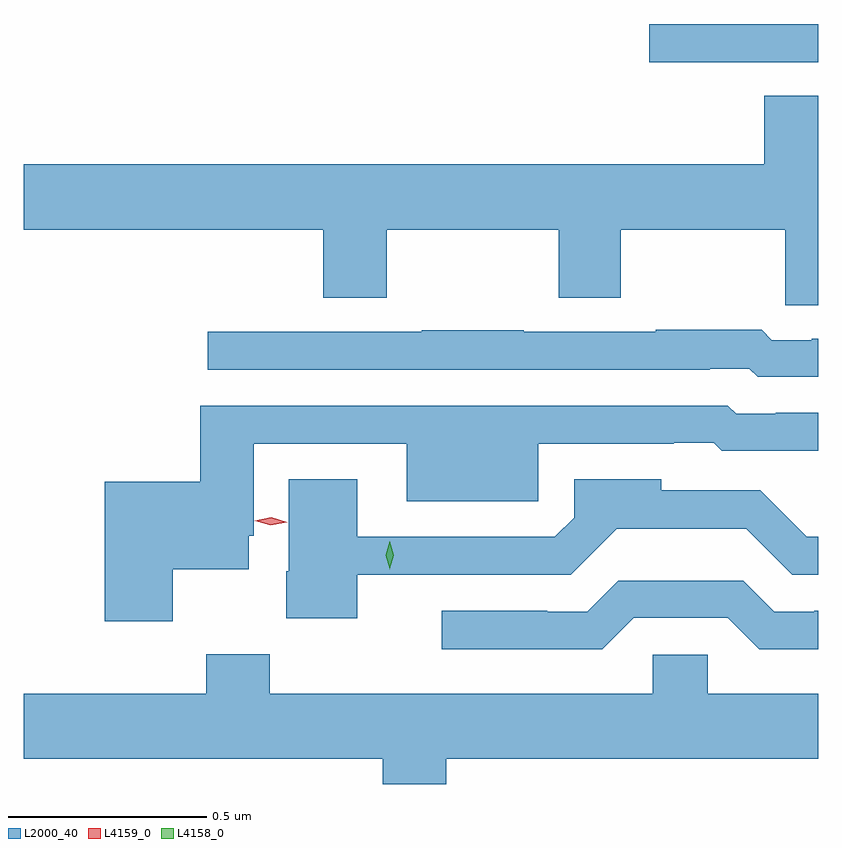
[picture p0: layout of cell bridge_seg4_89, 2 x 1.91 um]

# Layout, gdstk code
import gdstk
lib = gdstk.Library(unit=1e-6, precision=1e-09)
def R(c, l, rs):  # rectangles x0, y0, x1, y1
    for r in rs: c.add(gdstk.rectangle(r[:2], r[2:], *l))
def P(c, l, *ps):  # polygons
    for p in ps: c.add(gdstk.Polygon(p, *l))
L2000_40 = (2000, 40)
L4158_0 = (4158, 0)
L4159_0 = (4159, 0)

bridge_seg4_89 = lib.new_cell('bridge_seg4_89')
R(bridge_seg4_89, L2000_40, [(443.313,762.609,443.739,762.705)])
P(bridge_seg4_89, L2000_40, [(443.739,762.524),(443.603,762.524),(443.603,762.352),(441.739,762.352),(441.739,762.188),(442.493,762.188),(442.493,762.016),(442.653,762.016),(442.653,762.188),(443.086,762.188),(443.086,762.016),(443.241,762.016),(443.241,762.188),(443.656,762.188),(443.656,761.998),(443.739,761.998)],
  [(443.739,761.913),(443.722,761.913),(443.722,761.91),(443.622,761.91),(443.596,761.936),(443.329,761.936),(443.329,761.931),(442.997,761.931),(442.997,761.934),(442.741,761.934),(442.741,761.931),(442.203,761.931),(442.203,761.835),(443.465,761.835),(443.465,761.838),(443.565,761.838),(443.586,761.817),(443.739,761.817)],
  [(442.114,761.333),(442.306,761.333),(442.306,761.418),(442.318,761.418),(442.318,761.649),(442.703,761.649),(442.703,761.504),(443.034,761.504),(443.034,761.649),(443.375,761.649),(443.375,761.651),(443.476,761.651),(443.496,761.631),(443.739,761.631),(443.739,761.727),(443.632,761.727),(443.632,761.724),(443.532,761.724),(443.511,761.745),(442.184,761.745),(442.184,761.554),(441.944,761.554),(441.944,761.202),(442.114,761.202)],
  [(442.579,761.319),(443.116,761.319),(443.232,761.435),(443.557,761.435),(443.673,761.319),(443.739,761.319),(443.739,761.415),(443.709,761.415),(443.592,761.532),(443.343,761.532),(443.343,761.56),(443.124,761.56),(443.124,761.463),(443.076,761.415),(442.579,761.415),(442.579,761.56),(442.406,761.56),(442.406,761.328),(442.4,761.328),(442.4,761.21),(442.579,761.21)],
  [(443.274,761.211),(443.511,761.211),(443.59,761.132),(443.739,761.132),(443.739,761.229),(443.728,761.229),(443.728,761.226),(443.628,761.226),(443.55,761.304),(443.235,761.304),(443.157,761.226),(443.057,761.226),(443.057,761.229),(442.791,761.229),(442.791,761.132),(443.195,761.132)],
  [(442.803,760.856),(443.739,760.856),(443.739,761.02),(443.46,761.02),(443.46,761.118),(443.322,761.118),(443.322,761.02),(442.359,761.02),(442.359,761.119),(442.199,761.119),(442.199,761.02),(441.739,761.02),(441.739,760.856),(442.643,760.856),(442.643,760.793),(442.803,760.793)])
P(bridge_seg4_89, L4158_0, [(442.66,761.333),(442.66,761.334),(442.65,761.369),(442.66,761.404),(442.66,761.404),(442.66,761.404),(442.67,761.369),(442.66,761.334)])
P(bridge_seg4_89, L4159_0, [(442.361,761.444),(442.321,761.455),(442.321,761.455),(442.321,761.455),(442.362,761.464),(442.402,761.452),(442.402,761.452),(442.402,761.452)])

lib.write_gds('bridge_seg4_89.gds')
